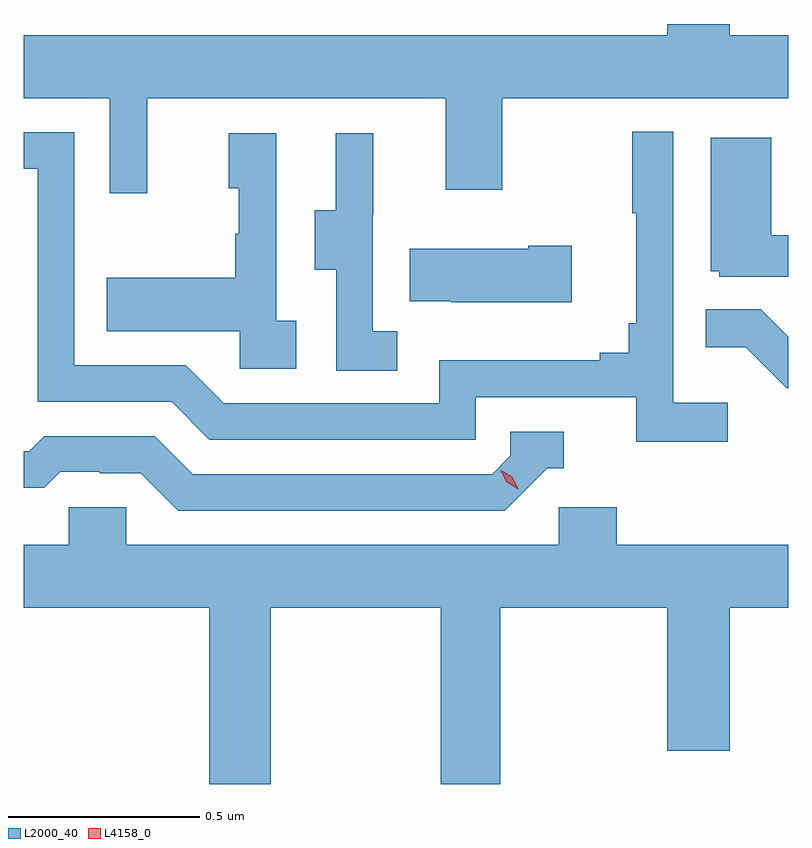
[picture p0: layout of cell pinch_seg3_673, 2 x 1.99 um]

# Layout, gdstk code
import gdstk
lib = gdstk.Library(unit=1e-6, precision=1e-09)
def P(c, l, *ps):  # polygons
    for p in ps: c.add(gdstk.Polygon(p, *l))
L2000_40 = (2000, 40)
L4158_0 = (4158, 0)

pinch_seg3_673 = lib.new_cell('pinch_seg3_673')
P(pinch_seg3_673, L2000_40, [(1062.749,678.272),(1063.529,678.272),(1063.529,678.033),(1063.677,678.033),(1063.677,678.272),(1064.425,678.272),(1064.425,678.436),(1064.272,678.436),(1064.272,678.466),(1064.108,678.466),(1064.108,678.436),(1062.425,678.436),(1062.425,678.272),(1062.651,678.272),(1062.651,678.024),(1062.749,678.024)],
  [(1064.266,677.476),(1064.124,677.476),(1064.124,678.184),(1064.016,678.184),(1064.016,677.971),(1064.027,677.971),(1064.027,677.683),(1064.008,677.683),(1064.008,677.606),(1063.931,677.606),(1063.931,677.587),(1063.512,677.587),(1063.512,677.475),(1062.948,677.475),(1062.849,677.574),(1062.558,677.574),(1062.558,678.183),(1062.425,678.183),(1062.425,678.087),(1062.462,678.087),(1062.462,677.478),(1062.812,677.478),(1062.911,677.379),(1063.608,677.379),(1063.608,677.49),(1064.027,677.49),(1064.027,677.374),(1064.266,677.374)],
  [(1063.138,677.69),(1063.086,677.69),(1063.086,678.181),(1062.962,678.181),(1062.962,678.036),(1062.988,678.036),(1062.988,677.918),(1062.978,677.918),(1062.978,677.803),(1062.643,677.803),(1062.643,677.663),(1062.99,677.663),(1062.99,677.565),(1063.138,677.565)],
  [(1063.402,677.663),(1063.338,677.663),(1063.338,677.967),(1063.34,677.967),(1063.34,678.181),(1063.241,678.181),(1063.241,677.979),(1063.187,677.979),(1063.187,677.824),(1063.242,677.824),(1063.242,677.56),(1063.402,677.56)],
  [(1064.425,677.914),(1064.38,677.914),(1064.38,678.169),(1064.222,678.169),(1064.222,677.82),(1064.244,677.82),(1064.244,677.805),(1064.425,677.805)],
  [(1063.858,677.886),(1063.745,677.886),(1063.745,677.878),(1063.435,677.878),(1063.435,677.741),(1063.543,677.741),(1063.543,677.738),(1063.858,677.738)],
  [(1064.425,677.648),(1064.353,677.72),(1064.209,677.72),(1064.209,677.621),(1064.313,677.621),(1064.42,677.514),(1064.425,677.514)],
  [(1063.794,677.304),(1063.837,677.304),(1063.837,677.4),(1063.698,677.4),(1063.698,677.337),(1063.65,677.289),(1062.867,677.289),(1062.768,677.388),(1062.479,677.388),(1062.44,677.349),(1062.425,677.349),(1062.425,677.253),(1062.479,677.253),(1062.521,677.295),(1062.624,677.295),(1062.624,677.292),(1062.731,677.292),(1062.83,677.193),(1063.683,677.193)],
  [(1063.071,676.94),(1063.516,676.94),(1063.516,676.479),(1063.671,676.479),(1063.671,676.94),(1064.108,676.94),(1064.108,676.566),(1064.272,676.566),(1064.272,676.94),(1064.425,676.94),(1064.425,677.104),(1063.976,677.104),(1063.976,677.202),(1063.824,677.202),(1063.824,677.104),(1062.693,677.104),(1062.693,677.202),(1062.543,677.202),(1062.543,677.104),(1062.425,677.104),(1062.425,676.94),(1062.911,676.94),(1062.911,676.479),(1063.071,676.479)])
P(pinch_seg3_673, L4158_0, [(1063.718,677.249),(1063.688,677.268),(1063.672,677.301),(1063.672,677.301),(1063.672,677.301),(1063.703,677.282),(1063.719,677.249),(1063.719,677.249)])

lib.write_gds('pinch_seg3_673.gds')
